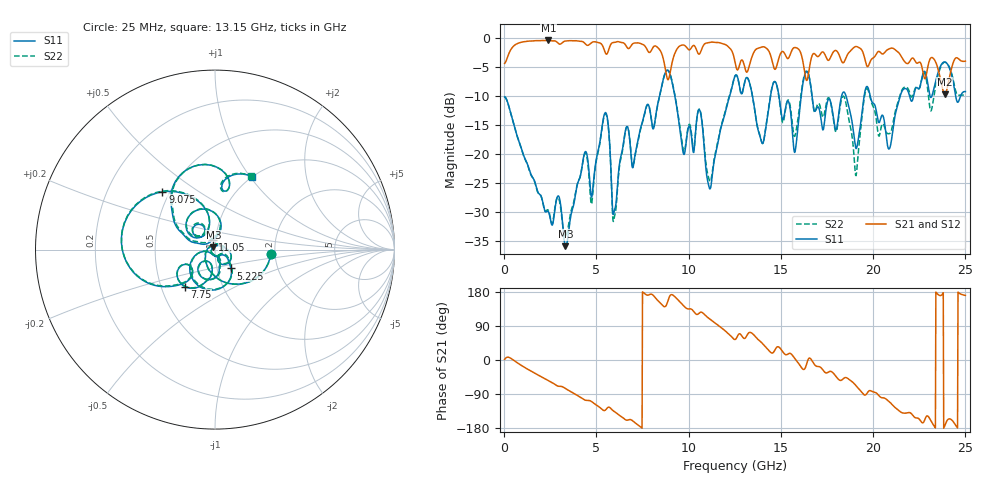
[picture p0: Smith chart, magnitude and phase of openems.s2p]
! R_s4_lshape_n0: L-shaped planes (24 × 16 mm minus an 8 × 6 mm corner), via L1 → L4, no return via
! stackup: 4-layer 1.6 mm FR-4
! ports: 1 L1, 2 L4
! openEMS 0.37.0, staircase, fine mesh (dfine 0.035 mm), 1187450 cells
# Hz S RI R 50
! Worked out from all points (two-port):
!   1000 points, 25 MHz to 25 GHz, reference 50 ohm
!   highest |S21| = -0.44 dB at 2.4 GHz (marker M1); lowest = -9.7 dB at 23.88 GHz (marker M2)
!   |S21| within 3 dB of the highest: 167.1 MHz to 8.613 GHz (8.446 GHz wide, 192 % of centre); 9.168 GHz to 12.47 GHz (3.298 GHz wide, 30.5 % of centre) (the widest 2 of 11)
!   lowest |S11| = -35.8 dB at 3.325 GHz (marker M3), VSWR 1.03, Z = 49.1 + j1.32 ohm
!   |S11| at or under -10 dB: start of sweep to 8.422 GHz; 9.253 GHz to 12.22 GHz (2.969 GHz wide, 27.6 % of centre); 19.84 GHz to 21.47 GHz (1.624 GHz wide, 7.86 % of centre) (the widest 3 of 10)
!   |S22| runs from -34.2 to -4.2 dB; largest |S21 - S12| = 0.0058
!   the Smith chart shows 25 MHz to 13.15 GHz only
!   S11 on the Smith chart (normalised r, x): 25 MHz: 1.90, -0.11; 5.225 GHz: 1.17, -0.25; 7.75 GHz: 0.66, -0.29; 9.075 GHz: 0.46, +0.36; 11.05 GHz: 0.97, +0.11; 13.15 GHz: 1.00, +1.03
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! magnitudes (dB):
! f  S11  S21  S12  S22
! 25 MHz  -10.1  -4.4  -4.4  -10.1
! 2.4 GHz  -29.9  -0.4  -0.4  -29.7
! 3.325 GHz  -35.8  -0.5  -0.5  -34.2
! 4.2 GHz  -22.6  -0.6  -0.6  -22.6
! 5.225 GHz  -17.2  -0.9  -0.9  -17.4
! 5.575 GHz  -13.5  -2.7  -2.7  -13.7
! 5.975 GHz  -29.7  -0.8  -0.8  -30.8
! 7.75 GHz  -11.5  -2.0  -2.0  -11.6
! 8.35 GHz  -11.0  -1.7  -1.7  -11.1
! 9.075 GHz  -7.2  -4.7  -4.7  -7.1
! 11.05 GHz  -24.9  -0.8  -0.8  -23.7
! 12.53 GHz  -6.5  -4.3  -4.3  -6.5
! 13.15 GHz  -6.8  -5.9  -5.9  -6.8
! 13.97 GHz  -18.1  -1.6  -1.6  -18.1
! 14.62 GHz  -7.6  -5.2  -5.2  -7.6
! 16.68 GHz  -9.7  -3.2  -3.1  -9.8
! 18.43 GHz  -9.3  -4.1  -4.1  -10.1
! 19.07 GHz  -19.0  -1.5  -1.5  -23.7
! 19.65 GHz  -8.4  -4.8  -4.7  -8.8
! 20.85 GHz  -19.1  -1.9  -1.9  -16.5
! 23.88 GHz  -4.1  -9.7  -9.7  -4.2
! 25 GHz  -9.2  -4.0  -4.0  -9.8
